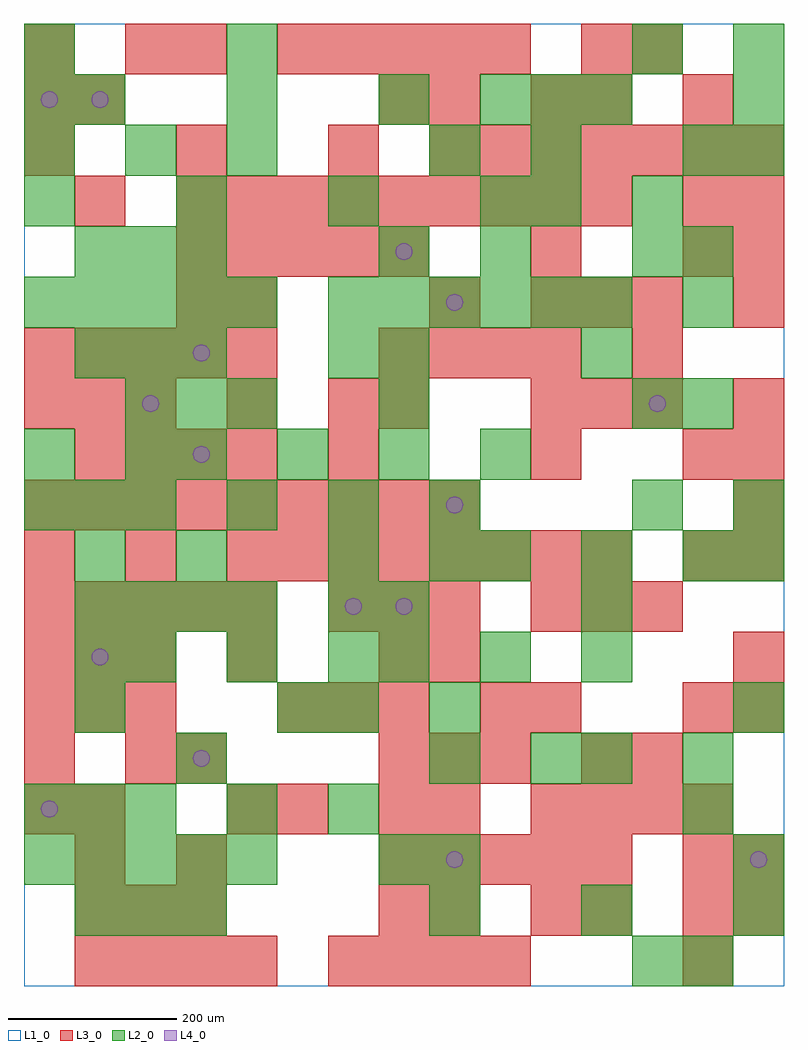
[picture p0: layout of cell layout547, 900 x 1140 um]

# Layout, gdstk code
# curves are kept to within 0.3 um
import gdstk
lib = gdstk.Library(unit=1e-6, precision=1e-09)
def R(c, l, rs):  # rectangles x0, y0, x1, y1
    for r in rs: c.add(gdstk.rectangle(r[:2], r[2:], *l))
def A(c, l, x, y, w, h, nx, ny, dx, dy):  # array of equal rectangles
    R(c, l, [(x+i*dx, y+j*dy, x+i*dx+w, y+j*dy+h) for i in range(nx) for j in range(ny)])
def P(c, l, *ps):  # polygons
    for p in ps: c.add(gdstk.Polygon(p, *l))
L1_0 = (1, 0)
L2_0 = (2, 0)
L3_0 = (3, 0)
L4_0 = (4, 0)

layout547 = lib.new_cell('layout547')
R(layout547, L1_0, [(0,0,900,1140)])
A(layout547, L2_0, 60, 60, 60, 60, 3, 2, 60, 660)
A(layout547, L2_0, 480, 60, 60, 60, 3, 1, 180, 0)
A(layout547, L2_0, 0, 120, 60, 60, 5, 2, 60, 660)
A(layout547, L2_0, 840, 120, 60, 60, 1, 3, 0, 180)
A(layout547, L2_0, 0, 180, 60, 60, 3, 2, 60, 360)
A(layout547, L2_0, 360, 180, 60, 60, 1, 3, 0, 120)
A(layout547, L2_0, 120, 360, 60, 60, 3, 1, 120, 0)
A(layout547, L2_0, 420, 360, 60, 60, 3, 1, 120, 0)
A(layout547, L2_0, 60, 420, 60, 60, 4, 1, 60, 0)
A(layout547, L2_0, 540, 480, 60, 60, 3, 1, 120, 0)
A(layout547, L2_0, 240, 540, 60, 60, 3, 1, 120, 0)
A(layout547, L2_0, 180, 600, 60, 60, 4, 1, 120, 0)
A(layout547, L2_0, 120, 660, 60, 60, 3, 1, 60, 0)
A(layout547, L2_0, 360, 780, 60, 60, 6, 1, 60, 0)
A(layout547, L2_0, 60, 840, 60, 60, 3, 1, 60, 0)
A(layout547, L2_0, 0, 900, 60, 60, 4, 1, 180, 0)
A(layout547, L2_0, 0, 960, 60, 60, 3, 1, 120, 0)
A(layout547, L2_0, 840, 960, 60, 60, 1, 3, 0, 60)
A(layout547, L2_0, 60, 1020, 60, 60, 3, 1, 180, 0)
A(layout547, L2_0, 540, 1020, 60, 60, 3, 1, 60, 0)
R(layout547, L2_0, [(720,0,780,60), (780,0,840,60), (420,120,480,180), (480,120,540,180), (240,180,300,240), (780,180,840,240), (180,240,240,300), (480,240,540,300), (600,240,660,300), (660,240,720,300), (780,240,840,300), (60,300,120,360), (300,300,360,360), (480,300,540,360), (60,360,120,420), (420,420,480,480), (660,420,720,480), (60,480,120,540), (180,480,240,540), (360,480,420,540), (480,480,540,540), (720,540,780,600), (840,540,900,600), (0,600,60,660), (120,600,180,660), (420,660,480,720), (720,660,780,720), (780,660,840,720), (360,720,420,780), (420,720,480,780), (660,720,720,780), (780,780,840,840), (420,840,480,900), (540,840,600,900), (720,840,780,900), (780,840,840,900), (600,900,660,960), (720,900,780,960), (480,960,540,1020), (600,960,660,1020), (780,960,840,1020), (0,1020,60,1080), (0,1080,60,1140), (240,1080,300,1140), (720,1080,780,1140)])
A(layout547, L3_0, 60, 0, 60, 60, 4, 2, 60, 600)
A(layout547, L3_0, 360, 0, 60, 60, 4, 1, 60, 0)
A(layout547, L3_0, 780, 0, 60, 60, 1, 3, 0, 60)
A(layout547, L3_0, 60, 60, 60, 60, 3, 1, 60, 0)
A(layout547, L3_0, 420, 120, 60, 60, 5, 1, 60, 0)
A(layout547, L3_0, 600, 180, 60, 60, 4, 1, 60, 0)
A(layout547, L3_0, 420, 240, 60, 60, 3, 1, 60, 0)
A(layout547, L3_0, 0, 300, 60, 60, 3, 2, 60, 60)
A(layout547, L3_0, 300, 300, 60, 60, 3, 1, 60, 0)
A(layout547, L3_0, 0, 420, 60, 60, 5, 2, 60, 300)
A(layout547, L3_0, 360, 420, 60, 60, 3, 1, 60, 0)
A(layout547, L3_0, 600, 420, 60, 60, 3, 2, 60, 240)
A(layout547, L3_0, 0, 480, 60, 60, 3, 1, 120, 0)
A(layout547, L3_0, 300, 480, 60, 60, 7, 1, 60, 0)
A(layout547, L3_0, 840, 480, 60, 60, 1, 4, 0, 60)
A(layout547, L3_0, 0, 540, 60, 60, 9, 1, 60, 0)
A(layout547, L3_0, 0, 660, 60, 60, 3, 1, 60, 0)
A(layout547, L3_0, 420, 720, 60, 60, 4, 1, 60, 0)
A(layout547, L3_0, 600, 780, 60, 60, 3, 1, 60, 0)
A(layout547, L3_0, 840, 780, 60, 60, 1, 3, 0, 60)
A(layout547, L3_0, 180, 840, 60, 60, 5, 1, 60, 0)
A(layout547, L3_0, 180, 900, 60, 60, 9, 1, 60, 0)
A(layout547, L3_0, 0, 960, 60, 60, 3, 1, 180, 0)
A(layout547, L3_0, 480, 960, 60, 60, 7, 1, 60, 0)
A(layout547, L3_0, 300, 1080, 60, 60, 5, 1, 60, 0)
R(layout547, L3_0, [(420,60,480,120), (480,60,540,120), (600,60,660,120), (660,60,720,120), (840,60,900,120), (60,120,120,180), (180,120,240,180), (840,120,900,180), (0,180,60,240), (60,180,120,240), (240,180,300,240), (300,180,360,240), (420,180,480,240), (480,180,540,240), (0,240,60,300), (120,240,180,300), (180,240,240,300), (660,240,720,300), (720,240,780,300), (540,300,600,360), (600,300,660,360), (780,300,840,360), (840,300,900,360), (240,360,300,420), (420,360,480,420), (480,360,540,420), (840,360,900,420), (780,480,840,540), (360,600,420,660), (600,600,660,660), (780,600,840,660), (240,660,300,720), (360,660,420,720), (420,660,480,720), (720,720,780,780), (180,780,240,840), (240,780,300,840), (480,780,540,840), (600,840,660,900), (780,840,840,900), (60,900,120,960), (780,900,840,960), (0,1020,60,1080), (60,1020,120,1080), (420,1020,480,1080), (480,1020,540,1080), (600,1020,660,1080), (660,1020,720,1080), (780,1020,840,1080), (0,1080,60,1140), (120,1080,180,1140), (180,1080,240,1140), (660,1080,720,1140), (720,1080,780,1140)])
P(layout547, L4_0, [(40,210),(39.239,213.827),(37.071,217.071),(33.827,219.239),(30,220),(26.173,219.239),(22.929,217.071),(20.761,213.827),(20,210),(20.761,206.173),(22.929,202.929),(26.173,200.761),(30,200),(33.827,200.761),(37.071,202.929),(39.239,206.173)],
  [(40,1050),(39.239,1053.827),(37.071,1057.071),(33.827,1059.239),(30,1060),(26.173,1059.239),(22.929,1057.071),(20.761,1053.827),(20,1050),(20.761,1046.173),(22.929,1042.929),(26.173,1040.761),(30,1040),(33.827,1040.761),(37.071,1042.929),(39.239,1046.173)],
  [(100,390),(99.239,393.827),(97.071,397.071),(93.827,399.239),(90,400),(86.173,399.239),(82.929,397.071),(80.761,393.827),(80,390),(80.761,386.173),(82.929,382.929),(86.173,380.761),(90,380),(93.827,380.761),(97.071,382.929),(99.239,386.173)],
  [(100,1050),(99.239,1053.827),(97.071,1057.071),(93.827,1059.239),(90,1060),(86.173,1059.239),(82.929,1057.071),(80.761,1053.827),(80,1050),(80.761,1046.173),(82.929,1042.929),(86.173,1040.761),(90,1040),(93.827,1040.761),(97.071,1042.929),(99.239,1046.173)],
  [(160,690),(159.239,693.827),(157.071,697.071),(153.827,699.239),(150,700),(146.173,699.239),(142.929,697.071),(140.761,693.827),(140,690),(140.761,686.173),(142.929,682.929),(146.173,680.761),(150,680),(153.827,680.761),(157.071,682.929),(159.239,686.173)],
  [(220,270),(219.239,273.827),(217.071,277.071),(213.827,279.239),(210,280),(206.173,279.239),(202.929,277.071),(200.761,273.827),(200,270),(200.761,266.173),(202.929,262.929),(206.173,260.761),(210,260),(213.827,260.761),(217.071,262.929),(219.239,266.173)],
  [(220,630),(219.239,633.827),(217.071,637.071),(213.827,639.239),(210,640),(206.173,639.239),(202.929,637.071),(200.761,633.827),(200,630),(200.761,626.173),(202.929,622.929),(206.173,620.761),(210,620),(213.827,620.761),(217.071,622.929),(219.239,626.173)],
  [(220,750),(219.239,753.827),(217.071,757.071),(213.827,759.239),(210,760),(206.173,759.239),(202.929,757.071),(200.761,753.827),(200,750),(200.761,746.173),(202.929,742.929),(206.173,740.761),(210,740),(213.827,740.761),(217.071,742.929),(219.239,746.173)],
  [(400,450),(399.239,453.827),(397.071,457.071),(393.827,459.239),(390,460),(386.173,459.239),(382.929,457.071),(380.761,453.827),(380,450),(380.761,446.173),(382.929,442.929),(386.173,440.761),(390,440),(393.827,440.761),(397.071,442.929),(399.239,446.173)],
  [(460,450),(459.239,453.827),(457.071,457.071),(453.827,459.239),(450,460),(446.173,459.239),(442.929,457.071),(440.761,453.827),(440,450),(440.761,446.173),(442.929,442.929),(446.173,440.761),(450,440),(453.827,440.761),(457.071,442.929),(459.239,446.173)],
  [(460,870),(459.239,873.827),(457.071,877.071),(453.827,879.239),(450,880),(446.173,879.239),(442.929,877.071),(440.761,873.827),(440,870),(440.761,866.173),(442.929,862.929),(446.173,860.761),(450,860),(453.827,860.761),(457.071,862.929),(459.239,866.173)],
  [(520,150),(519.239,153.827),(517.071,157.071),(513.827,159.239),(510,160),(506.173,159.239),(502.929,157.071),(500.761,153.827),(500,150),(500.761,146.173),(502.929,142.929),(506.173,140.761),(510,140),(513.827,140.761),(517.071,142.929),(519.239,146.173)],
  [(520,570),(519.239,573.827),(517.071,577.071),(513.827,579.239),(510,580),(506.173,579.239),(502.929,577.071),(500.761,573.827),(500,570),(500.761,566.173),(502.929,562.929),(506.173,560.761),(510,560),(513.827,560.761),(517.071,562.929),(519.239,566.173)],
  [(520,810),(519.239,813.827),(517.071,817.071),(513.827,819.239),(510,820),(506.173,819.239),(502.929,817.071),(500.761,813.827),(500,810),(500.761,806.173),(502.929,802.929),(506.173,800.761),(510,800),(513.827,800.761),(517.071,802.929),(519.239,806.173)],
  [(760,690),(759.239,693.827),(757.071,697.071),(753.827,699.239),(750,700),(746.173,699.239),(742.929,697.071),(740.761,693.827),(740,690),(740.761,686.173),(742.929,682.929),(746.173,680.761),(750,680),(753.827,680.761),(757.071,682.929),(759.239,686.173)],
  [(880,150),(879.239,153.827),(877.071,157.071),(873.827,159.239),(870,160),(866.173,159.239),(862.929,157.071),(860.761,153.827),(860,150),(860.761,146.173),(862.929,142.929),(866.173,140.761),(870,140),(873.827,140.761),(877.071,142.929),(879.239,146.173)])

lib.write_gds('layout547.gds')
